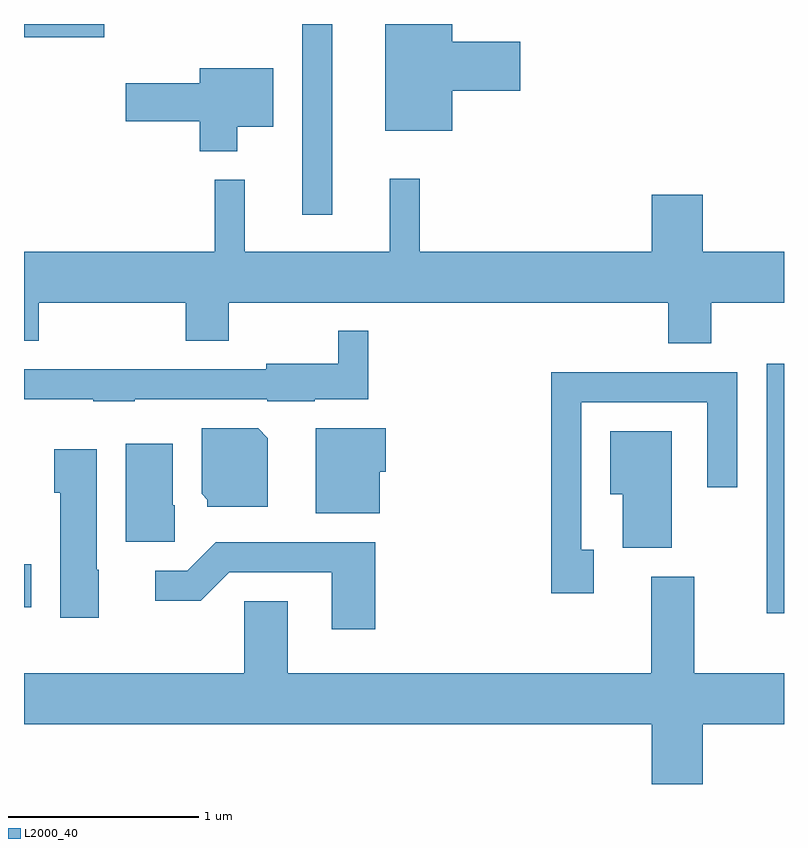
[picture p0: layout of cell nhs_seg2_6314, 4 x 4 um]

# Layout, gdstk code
import gdstk
lib = gdstk.Library(unit=1e-6, precision=1e-09)
def R(c, l, rs):  # rectangles x0, y0, x1, y1
    for r in rs: c.add(gdstk.rectangle(r[:2], r[2:], *l))
def P(c, l, *ps):  # polygons
    for p in ps: c.add(gdstk.Polygon(p, *l))
L2000_40 = (2000, 40)

nhs_seg2_6314 = lib.new_cell('nhs_seg2_6314')
R(nhs_seg2_6314, L2000_40, [(375.521,1026.701,375.611,1028.014), (371.611,1026.731,371.649,1026.959), (373.076,1028.798,373.234,1029.802), (371.611,1029.731,372.034,1029.802)])
P(nhs_seg2_6314, L2000_40, [(373.864,1029.451),(374.224,1029.451),(374.224,1029.709),(373.864,1029.709),(373.864,1029.802),(373.511,1029.802),(373.511,1029.241),(373.864,1029.241)],
  [(372.734,1029.261),(372.924,1029.261),(372.924,1029.569),(372.536,1029.569),(372.536,1029.489),(372.146,1029.489),(372.146,1029.291),(372.536,1029.291),(372.536,1029.131),(372.734,1029.131)],
  [(375.229,1028.336),(375.611,1028.336),(375.611,1028.604),(375.184,1028.604),(375.184,1028.904),(374.916,1028.904),(374.916,1028.604),(373.694,1028.604),(373.694,1028.988),(373.536,1028.988),(373.536,1028.604),(372.774,1028.604),(372.774,1028.983),(372.616,1028.983),(372.616,1028.604),(371.611,1028.604),(371.611,1028.136),(371.689,1028.136),(371.689,1028.336),(372.461,1028.336),(372.461,1028.136),(372.689,1028.136),(372.689,1028.336),(375.001,1028.336),(375.001,1028.121),(375.229,1028.121)],
  [(372.195,1027.826),(372.89,1027.826),(372.89,1027.816),(373.14,1027.816),(373.14,1027.826),(373.424,1027.826),(373.424,1028.188),(373.266,1028.188),(373.266,1028.014),(372.886,1028.014),(372.886,1027.984),(371.611,1027.984),(371.611,1027.826),(371.975,1027.826),(371.975,1027.816),(372.195,1027.816)],
  [(374.609,1027.034),(374.544,1027.034),(374.544,1027.811),(375.206,1027.811),(375.206,1027.363),(375.364,1027.363),(375.364,1027.969),(374.386,1027.969),(374.386,1026.806),(374.609,1026.806)],
  [(372.894,1027.623),(372.844,1027.674),(372.546,1027.674),(372.546,1027.329),(372.576,1027.299),(372.576,1027.261),(372.894,1027.261)],
  [(373.484,1027.446),(373.514,1027.446),(373.514,1027.674),(373.146,1027.674),(373.146,1027.226),(373.484,1027.226)],
  [(375.019,1027.659),(374.696,1027.659),(374.696,1027.326),(374.761,1027.326),(374.761,1027.046),(375.019,1027.046)],
  [(372.404,1027.27),(372.394,1027.27),(372.394,1027.594),(372.146,1027.594),(372.146,1027.076),(372.404,1027.076)],
  [(372.004,1026.93),(371.994,1026.93),(371.994,1027.564),(371.771,1027.564),(371.771,1027.336),(371.801,1027.336),(371.801,1026.676),(372.004,1026.676)],
  [(373.459,1027.074),(372.619,1027.074),(372.469,1026.924),(372.303,1026.924),(372.303,1026.766),(372.542,1026.766),(372.692,1026.916),(373.231,1026.916),(373.231,1026.616),(373.459,1026.616)],
  [(375.184,1026.116),(375.611,1026.116),(375.611,1026.384),(375.139,1026.384),(375.139,1026.894),(374.911,1026.894),(374.911,1026.384),(372.999,1026.384),(372.999,1026.764),(372.771,1026.764),(372.771,1026.384),(371.611,1026.384),(371.611,1026.116),(374.916,1026.116),(374.916,1025.802),(375.184,1025.802)])

lib.write_gds('nhs_seg2_6314.gds')
